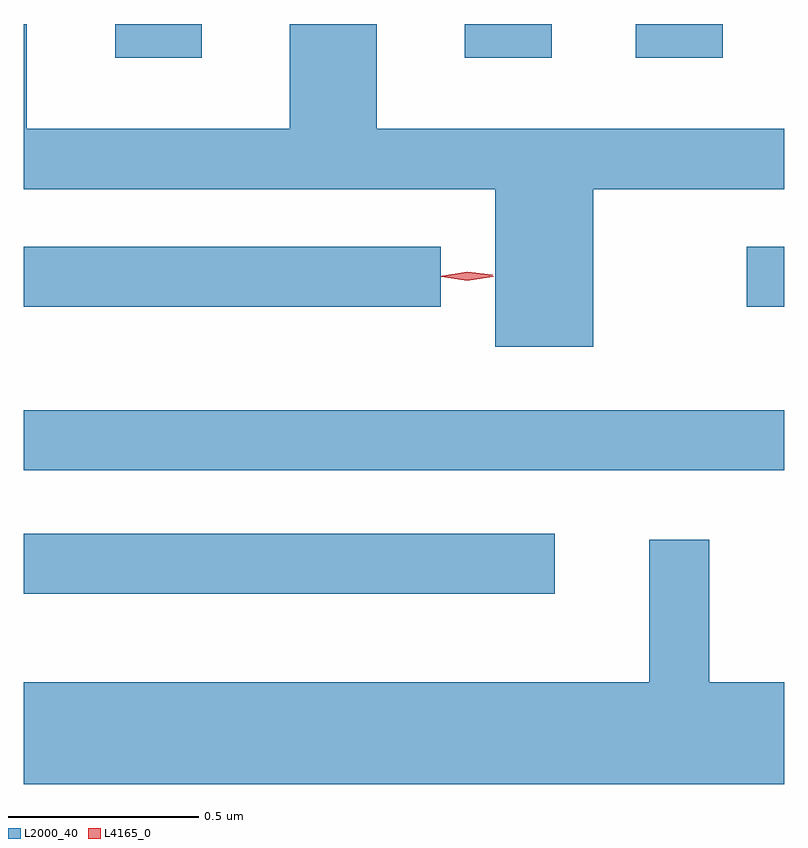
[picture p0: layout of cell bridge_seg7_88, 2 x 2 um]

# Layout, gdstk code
import gdstk
lib = gdstk.Library(unit=1e-6, precision=1e-09)
def R(c, l, rs):  # rectangles x0, y0, x1, y1
    for r in rs: c.add(gdstk.rectangle(r[:2], r[2:], *l))
def P(c, l, *ps):  # polygons
    for p in ps: c.add(gdstk.Polygon(p, *l))
L2000_40 = (2000, 40)
L4165_0 = (4165, 0)

bridge_seg7_88 = lib.new_cell('bridge_seg7_88')
R(bridge_seg7_88, L2000_40, [(1618.741,1790.296,1620.138,1790.454), (1618.741,1790.621,1620.741,1790.779), (1618.741,1791.051,1619.838,1791.209), (1620.643,1791.051,1620.741,1791.209), (1618.981,1791.706,1619.209,1791.795), (1619.901,1791.706,1620.129,1791.795), (1620.351,1791.706,1620.579,1791.795)])
P(bridge_seg7_88, L2000_40, [(1620.239,1791.361),(1620.741,1791.361),(1620.741,1791.519),(1619.669,1791.519),(1619.669,1791.795),(1619.441,1791.795),(1619.441,1791.519),(1618.749,1791.519),(1618.749,1791.795),(1618.741,1791.795),(1618.741,1791.361),(1619.981,1791.361),(1619.981,1790.946),(1620.239,1790.946)],
  [(1620.741,1790.064),(1620.544,1790.064),(1620.544,1790.438),(1620.386,1790.438),(1620.386,1790.064),(1618.741,1790.064),(1618.741,1789.796),(1620.741,1789.796)])
P(bridge_seg7_88, L4165_0, [(1619.908,1791.12),(1619.839,1791.13),(1619.839,1791.13),(1619.839,1791.131),(1619.908,1791.14),(1619.976,1791.131),(1619.977,1791.131),(1619.976,1791.13)],
  [(1619.908,1791.124),(1619.843,1791.132),(1619.842,1791.133),(1619.843,1791.133),(1619.908,1791.144),(1619.974,1791.135),(1619.974,1791.135),(1619.974,1791.134)])

lib.write_gds('bridge_seg7_88.gds')
